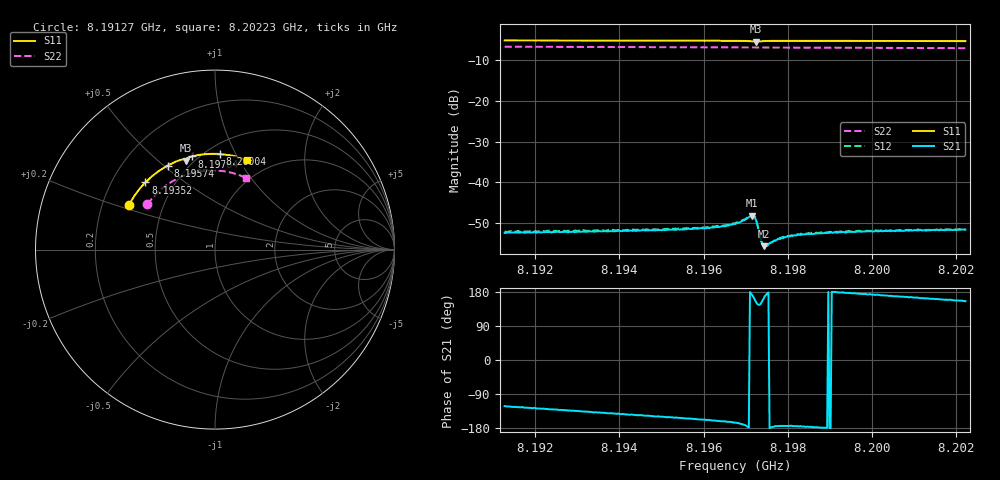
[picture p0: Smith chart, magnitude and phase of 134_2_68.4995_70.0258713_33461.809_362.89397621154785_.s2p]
#  HZ  S  RI  R  50.00
! Rohde & Schwarz Vector Network Analyzer
! Rohde-Schwarz,ZNB20-2Port,1311601062101988,3.16
! Created: UTC 3/20/2024, 4:54:36 PM
! freq[Hz]  re:S11  im:S11  re:S21  im:S21  re:S12  im:S12  re:S22  im:S22
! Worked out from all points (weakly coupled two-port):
!   401 points, 8.19127 GHz to 8.20223 GHz, reference 50 ohm
!   highest |S21| = -48.09 dB at 8.19716 GHz (marker M1); lowest = -55.5 dB at 8.19743 GHz (marker M2)
!   lowest |S11| = -5.6 dB at 8.19724 GHz (marker M3), VSWR 3.19, Z = 22.8 + j31.1 ohm
!   |S11| at or under -10 dB: nowhere
!   |S22| runs from -7.2 to -6.9 dB; largest |S21 - S12| = 0.00021
!   S11 on the Smith chart (normalised r, x): 8.19127 GHz: 0.31, +0.22; 8.19352 GHz: 0.34, +0.36; 8.19574 GHz: 0.39, +0.52; 8.19784 GHz: 0.46, +0.67; 8.20004 GHz: 0.58, +0.87; 8.20223 GHz: 0.78, +1.08
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8.191269e9  -0.4808 0.2467  -0.00128 -0.00206  -0.0014 -0.0021  -0.3765 0.252
8.193105e9  -0.4077 0.353  -0.00179 -0.00176  -0.00191 -0.00173  -0.3088 0.328
8.193516e9  -0.3881 0.3741  -0.00191 -0.00169  -0.00199 -0.00167  -0.2913 0.3431
8.194941e9  -0.3114 0.4388  -0.00227 -0.00136  -0.00235 -0.00129  -0.2256 0.3871
8.195735e9  -0.2634 0.4684  -0.00248 -0.00114  -0.00257 -0.00106  -0.1857 0.4066
8.19642e9  -0.2192 0.4897  -0.00276 -0.00091  -0.00285 -0.000853  -0.1496 0.4199
8.196749e9  -0.1963 0.4982  -0.00301 -0.000782  -0.00313 -0.000683  -0.1318 0.4251
8.19716e9  -0.1637 0.5003  -0.00389 0.000628  -0.00395 0.000774  -0.1095 0.4306
8.197215e9  -0.162 0.4974  -0.00356 0.0013  -0.00356 0.00145  -0.1065 0.4312
8.197242e9  -0.1624 0.4964  -0.00319 0.00153  -0.0032 0.00173  -0.1051 0.4315
8.19727e9  -0.1632 0.4963  -0.00276 0.00165  -0.00273 0.00179  -0.1034 0.4317
8.197379e9  -0.1628 0.5032  -0.00163 0.000878  -0.00167 0.000965  -0.0977 0.433
8.197434e9  -0.1595 0.5068  -0.0016 0.000493  -0.00162 0.000556  -0.0946 0.4337
8.197461e9  -0.1576 0.5082  -0.00165 0.000322  -0.00166 0.000424  -0.0931 0.4341
8.197516e9  -0.1535 0.5107  -0.00168 0.000132  -0.00173 0.000223  -0.09 0.4347
8.197626e9  -0.1452 0.5143  -0.00187 -9.96e-05  -0.00188 -3.7e-05  -0.0839 0.4357
8.197845e9  -0.129 0.5192  -0.00207 -0.000205  -0.00209 -0.00015  -0.0717 0.4375
8.198201e9  -0.1034 0.5249  -0.00224 -0.000215  -0.00231 -0.00011  -0.0518 0.4397
8.198585e9  -0.0761 0.5294  -0.00235 -0.000133  -0.00242 -1.27e-05  -0.0301 0.441
8.200037e9  0.0268 0.5326  -0.00251 0.000336  -0.00254 0.000457  0.052 0.4362
8.200421e9  0.0538 0.5301  -0.00252 0.000483  -0.00252 0.000601  0.0734 0.4326
8.202229e9  0.178 0.4997  -0.00241 0.00111  -0.00241 0.00121  0.1711 0.4001
